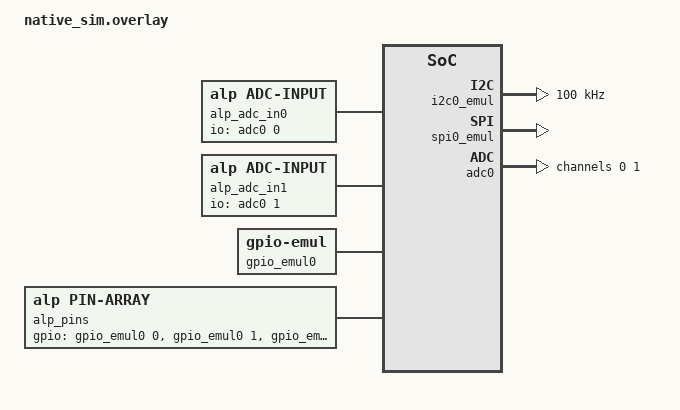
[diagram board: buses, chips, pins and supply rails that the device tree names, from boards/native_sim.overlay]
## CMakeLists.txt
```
# SPDX-License-Identifier: Apache-2.0

cmake_minimum_required(VERSION 3.20)

find_package(Zephyr REQUIRED HINTS $ENV{ZEPHYR_BASE})
project(alp_sdk_conformance_test LANGUAGES C)

# main.c's ops-vtable guard-mutation test (issue #1641) reaches past the
# portable API into the dispatcher/backend internal ABI
# (src/backends/<class>/<class>_ops.h) to NULL one op slot on an
# otherwise-real handle and prove the dispatcher's own NULL check -- not
# any particular backend's completeness -- is what stands between a
# partial vendor port and a fault.  Those headers are internal (not
# under include/), so this test app needs its own path to them; no other
# alp-sdk consumer gets this include.  Scoped to src/backends (not all of
# src/) so this app's include path never shadows a real Zephyr header
# against a same-named future src/zephyr/<name>.h.
target_include_directories(app PRIVATE ${CMAKE_CURRENT_SOURCE_DIR}/../../../src/backends)

# Single-file suite by design: the per-class conf_class_t table plus
# the generic contract runners all live in src/main.c so the "add
# vendor N+1 = add one table row" property stays visible in one place.
#
# main.c's data-driven rows assume the REAL/emulated backend per class
# (e.g. gpio's Case B expects alp_gpio_open(99) to fail -- true for
# zephyr_drv, never true for a test double that must open ANY
# instance).  CONFIG_ALP_SDK_TESTING's priority-255 wildcard backends
# are therefore built as a SEPARATE app image (the
# alp_sdk.conformance.test_doubles scenario) that swaps main.c out for
# the per-class behavior_*.c files (src/behavior_gpio.c,
# src/behavior_uart.c, ...) instead of adding to the same binary -- the
# two suites test different, mutually-incompatible backend selections
# for the same class and must never run in one process.  main.c itself
# is untouched; only this file's source list is scenario-conditional.
# Adding class N+1's test double: add its behavior_<class>.c to the
# list below (one file per class, mirroring one testing_drv.c per
# class under src/backends/<class>/).
if(CONFIG_ALP_SDK_TESTING)
    target_sources(app PRIVATE
        src/behavior_gpio.c
        src/behavior_uart.c
        src/behavior_i2c.c
        src/behavior_spi.c
        src/behavior_adc.c
        src/behavior_can.c
        src/behavior_storage.c
        src/behavior_button_led.c
    )
    # behavior_button_led.c snapshots state inside alp_gpio_irq_disable() to prove
    # the press-callback swap masks the IRQ first (#2987 item 149).
    zephyr_ld_options(-Wl,--wrap=alp_gpio_irq_disable)
else()
    target_sources(app PRIVATE
        src/main.c
    )
    # native_sim only: needs the zephyr,adc-emul controller (adc0) and
    # its 16-bit channel@1 from boards/native_sim*.overlay.
    if(CONFIG_ADC_EMUL)
        target_sources(app PRIVATE src/behavior_adc_emul.c)
    endif()
endif()
```

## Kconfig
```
# Copyright 2026 Alp Lab AB
# SPDX-License-Identifier: Apache-2.0

mainmenu "Alp SDK portable-API conformance suite"

config TEST_ALP_CONFORMANCE_WDT_ARM
	bool "Run the watchdog positive-open (arming) conformance path"
	default y if ARCH_POSIX
	help
	  The WDT row's open(valid) case installs AND STARTS a real
	  1000 ms RESET_SOC watchdog wherever a watchdog device is
	  wired.  <alp/wdt.h> documents that many M-class watchdogs are
	  write-once-armed -- close() cannot stop them -- so on real
	  silicon the suite would reset the board mid-run.

	  Default y only on ARCH_POSIX (native_sim wires no watchdog
	  device, so nothing ever arms and CI keeps full row coverage);
	  default n on hardware so the suite is safe by default.  A
	  bench operator may opt in to verify the positive WDT path,
	  running the suite dead-last and expecting a possible reset on
	  one-shot watchdogs.

source "Kconfig.zephyr"
```

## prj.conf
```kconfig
# SPDX-License-Identifier: Apache-2.0

CONFIG_ZTEST=y
CONFIG_ALP_SDK=y

# Zephyr subsystems behind the portable classes under conformance
# test.  Each CONFIG pulls the matching alp backend wrapper into the
# build; classes without a controller on the build platform exercise
# the documented failure contract (NULL + alp_last_error) instead of
# the positive open path -- see the test matrix in src/main.c.
CONFIG_GPIO=y
CONFIG_I2C=y
CONFIG_SPI=y
CONFIG_SERIAL=y
CONFIG_ADC=y
CONFIG_PWM=y
CONFIG_COUNTER=y
CONFIG_SENSOR=y
CONFIG_I2S=y
CONFIG_CAN=y
CONFIG_RTC=y
CONFIG_WATCHDOG=y

# Required for the thread-local alp_last_error() storage.
CONFIG_THREAD_LOCAL_STORAGE=y

# peripheral_i2s.c allocates its DMA slab with k_malloc; the linker
# needs a heap pool even though the conformance build never gets past
# open() on native_sim (no I2S controller).
CONFIG_HEAP_MEM_POOL_SIZE=4096

# Emulated controllers live in boards/native_sim*.conf: their Kconfig
# deps (DT_HAS_ZEPHYR_*_EMUL_ENABLED) only exist on native_sim, and an
# unmet =y assignment is a hard Kconfig error on the real-SoM builds
# this suite also targets (see testcase.yaml platform_allow).

CONFIG_LOG=y
```

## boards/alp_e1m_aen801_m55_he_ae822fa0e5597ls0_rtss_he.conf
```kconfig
# SPDX-License-Identifier: Apache-2.0
#
# E1M-AEN801 (Alif Ensemble E8) RTSS-HE: pin the SoC capability
# profile so the conformance expectations derive from alp_has()
# (strict caps<->backend parity) instead of the permissive
# CONFIG_ALP_SOC_NONE fallback.  SoC per the board's board.yml
# (ae822fa0e5597ls0 = Ensemble E8).
CONFIG_ALP_SOC_ALIF_ENSEMBLE_E8=y
```

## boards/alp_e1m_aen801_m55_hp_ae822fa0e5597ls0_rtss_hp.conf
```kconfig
# SPDX-License-Identifier: Apache-2.0
#
# E1M-AEN801 (Alif Ensemble E8) RTSS-HP: pin the SoC capability
# profile so the conformance expectations derive from alp_has()
# (strict caps<->backend parity) instead of the permissive
# CONFIG_ALP_SOC_NONE fallback.  SoC per the board's board.yml
# (ae822fa0e5597ls0 = Ensemble E8).
CONFIG_ALP_SOC_ALIF_ENSEMBLE_E8=y
```

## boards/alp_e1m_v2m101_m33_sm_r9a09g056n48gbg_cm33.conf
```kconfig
# SPDX-License-Identifier: Apache-2.0
#
# E1M-V2M101 Cortex-M33 system manager: pin the SoC capability
# profile so the conformance expectations derive from alp_has()
# (strict caps<->backend parity) instead of the permissive
# CONFIG_ALP_SOC_NONE fallback.  Profile per
# metadata/e1m_modules/E1M-V2M101.yaml (silicon_variant
# R9A09G056N44GBG -> metadata/socs/renesas/rzv2n/n44.json).
CONFIG_ALP_SOC_RENESAS_RZV2N_N44=y

# The V2N-family PWM / ADC backends route through the on-module
# GD32G553 supervisor (compiled whenever the SoC config is set), and
# their bridge calls resolve in chips/gd32g553/gd32g553.c -- so the
# chip driver must come along.  Every E1M-X SoM carries the bridge
# (docs/portability-matrix.md pairs these two configs on all six
# SKUs); cf. tests/zephyr/peripheral/prj_v2n_supervisor.conf.
CONFIG_ALP_SDK_CHIP_GD32G553=y
```

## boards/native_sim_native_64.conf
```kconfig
# SPDX-License-Identifier: Apache-2.0
#
# native_sim-only Kconfig: the emulated controllers backing the
# must-open rows (gpio / i2c / spi; adc0 + counter0 come from the
# board DTS via the overlay aliases).  Kept out of prj.conf because
# the DT_HAS_ZEPHYR_*_EMUL_ENABLED dependencies don't exist on the
# real-SoM builds in testcase.yaml platform_allow.
CONFIG_EMUL=y
CONFIG_GPIO_EMUL=y
CONFIG_I2C_EMUL=y
CONFIG_SPI_EMUL=y

# The native_pty UART driver implements the interrupt-driven API, so
# the alp_uart_rx_ringbuf_* surface gets a real positive path here
# (attach + count + pop + detach against uart0).
CONFIG_UART_INTERRUPT_DRIVEN=y
CONFIG_ALP_SDK_UART_RX_RINGBUF=y
```

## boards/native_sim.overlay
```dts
/*
 * Copyright 2026 Alp Lab AB
 * SPDX-License-Identifier: Apache-2.0
 *
 * Devicetree overlay for the alp-sdk conformance ztest under
 * native_sim.  Wires three emulated GPIOs, one emulated I2C bus,
 * one emulated SPI bus, the existing native_sim UART (uart0), the
 * board's zephyr,adc-emul controller (adc0) and native-sim counter
 * (counter0) to the alias names alp_sdk's Zephyr backends look up --
 * so gpio / i2c / spi / uart / adc / counter all run the REAL
 * positive lifecycle path on native_sim.
 */

#include <zephyr/dt-bindings/adc/adc.h>
#include <zephyr/dt-bindings/gpio/gpio.h>

/ {
    aliases {
        alp-i2c0     = &i2c0_emul;
        alp-spi0     = &spi0_emul;
        alp-uart0    = &uart0;
        alp-adc0     = &alp_adc_in0;
        alp-adc1     = &alp_adc_in1;
        alp-counter0 = &counter0;
    };

    /* io-channels consumer the alp-adc0 alias resolves to.  The
     * "alp,adc-input" compatible is REQUIRED (not cosmetic): only a
     * bound node gets its io-channels phandle-array macros generated,
     * so ADC_DT_SPEC_GET on the alias compiles.  See the binding at
     * zephyr/dts/bindings/adc/alp,adc-input.yaml. */
    alp_adc_in0: alp-adc-in0 {
        compatible = "alp,adc-input";
        io-channels = <&adc0 0>;
    };

    /* 16-bit single-ended channel: drives the zephyr_drv sign-handling
     * regression in src/behavior_adc_emul.c (a 0xC000+ sample must not
     * be sign-extended). */
    alp_adc_in1: alp-adc-in1 {
        compatible = "alp,adc-input";
        io-channels = <&adc0 1>;
    };

    soc {
        i2c0_emul: i2c@100 {
            compatible = "zephyr,i2c-emul-controller";
            status = "okay";
            reg = <0x100 4>;
            #address-cells = <1>;
            #size-cells = <0>;
            clock-frequency = <I2C_BITRATE_STANDARD>;
        };

        spi0_emul: spi@200 {
            compatible = "zephyr,spi-emul-controller";
            status = "okay";
            reg = <0x200 4>;
            #address-cells = <1>;
            #size-cells = <0>;
        };
    };

    gpio_emul0: gpio_emul0 {
        compatible = "zephyr,gpio-emul";
        status = "okay";
        gpio-controller;
        rising-edge;
        falling-edge;
        #gpio-cells = <2>;
        ngpios = <8>;
    };

    alp_pins: alp-pins {
        compatible = "alp,pin-array";
        gpios = <&gpio_emul0 0 GPIO_ACTIVE_HIGH>,
                <&gpio_emul0 1 GPIO_ACTIVE_HIGH>,
                <&gpio_emul0 2 (GPIO_ACTIVE_HIGH | GPIO_PULL_UP)>;
    };
};

/* native_sim ships adc0 (zephyr,adc-emul, status "okay") but no
 * channel config; add the channel@0 node adc_channel_setup_dt reads
 * plus the internal reference the emulator scales against.  Values
 * transcribed from Zephyr's own adc-emul exercise at
 * $ZEPHYR_BASE/tests/drivers/adc/adc_api/boards/native_sim.overlay. */
&adc0 {
    ref-internal-mv = <3300>;
    #address-cells = <1>;
    #size-cells = <0>;

    channel@0 {
        reg = <0>;
        zephyr,gain = "ADC_GAIN_1";
        zephyr,reference = "ADC_REF_INTERNAL";
        zephyr,acquisition-time = <ADC_ACQ_TIME_DEFAULT>;
        zephyr,resolution = <12>;
    };

    channel@1 {
        reg = <1>;
        zephyr,gain = "ADC_GAIN_1";
        zephyr,reference = "ADC_REF_INTERNAL";
        zephyr,acquisition-time = <ADC_ACQ_TIME_DEFAULT>;
        zephyr,resolution = <16>;
    };
};
```

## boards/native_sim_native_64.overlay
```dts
/*
 * Copyright 2026 Alp Lab AB
 * SPDX-License-Identifier: Apache-2.0
 *
 * Devicetree overlay for the alp-sdk conformance ztest under
 * native_sim.  Wires three emulated GPIOs, one emulated I2C bus,
 * one emulated SPI bus, the existing native_sim UART (uart0), the
 * board's zephyr,adc-emul controller (adc0) and native-sim counter
 * (counter0) to the alias names alp_sdk's Zephyr backends look up --
 * so gpio / i2c / spi / uart / adc / counter all run the REAL
 * positive lifecycle path on native_sim.
 */

#include <zephyr/dt-bindings/adc/adc.h>
#include <zephyr/dt-bindings/gpio/gpio.h>
#include <zephyr/dt-bindings/i2c/i2c.h>

/ {
    aliases {
        alp-i2c0     = &i2c0_emul;
        alp-spi0     = &spi0_emul;
        alp-uart0    = &uart0;
        alp-adc0     = &alp_adc_in0;
        alp-adc1     = &alp_adc_in1;
        alp-counter0 = &counter0;
    };

    /* io-channels consumer the alp-adc0 alias resolves to.  The
     * "alp,adc-input" compatible is REQUIRED (not cosmetic): only a
     * bound node gets its io-channels phandle-array macros generated,
     * so ADC_DT_SPEC_GET on the alias compiles.  See the binding at
     * zephyr/dts/bindings/adc/alp,adc-input.yaml. */
    alp_adc_in0: alp-adc-in0 {
        compatible = "alp,adc-input";
        io-channels = <&adc0 0>;
    };

    /* 16-bit single-ended channel: drives the zephyr_drv sign-handling
     * regression in src/behavior_adc_emul.c (a 0xC000+ sample must not
     * be sign-extended). */
    alp_adc_in1: alp-adc-in1 {
        compatible = "alp,adc-input";
        io-channels = <&adc0 1>;
    };

    /* native_sim's /soc has #address-cells=2, #size-cells=1, so
     * `reg` needs three cells: <addr_hi addr_lo size>. */
    soc {
        i2c0_emul: i2c@100 {
            compatible = "zephyr,i2c-emul-controller";
            status = "okay";
            reg = <0 0x100 4>;
            #address-cells = <1>;
            #size-cells = <0>;
            clock-frequency = <I2C_BITRATE_STANDARD>;
        };

        spi0_emul: spi@200 {
            compatible = "zephyr,spi-emul-controller";
            status = "okay";
            reg = <0 0x200 4>;
            #address-cells = <1>;
            #size-cells = <0>;
        };
    };

    gpio_emul0: gpio_emul0 {
        compatible = "zephyr,gpio-emul";
        status = "okay";
        gpio-controller;
        rising-edge;
        falling-edge;
        #gpio-cells = <2>;
        ngpios = <8>;
    };

    alp_pins: alp-pins {
        compatible = "alp,pin-array";
        gpios = <&gpio_emul0 0 GPIO_ACTIVE_HIGH>,
                <&gpio_emul0 1 GPIO_ACTIVE_HIGH>,
                <&gpio_emul0 2 (GPIO_ACTIVE_HIGH | GPIO_PULL_UP)>;
    };
};

/* native_sim ships adc0 (zephyr,adc-emul, status "okay") but no
 * channel config; add the channel@0 node adc_channel_setup_dt reads
 * plus the internal reference the emulator scales against.  Values
 * transcribed from Zephyr's own adc-emul exercise at
 * $ZEPHYR_BASE/tests/drivers/adc/adc_api/boards/native_sim.overlay. */
&adc0 {
    ref-internal-mv = <3300>;
    #address-cells = <1>;
    #size-cells = <0>;

    channel@0 {
        reg = <0>;
        zephyr,gain = "ADC_GAIN_1";
        zephyr,reference = "ADC_REF_INTERNAL";
        zephyr,acquisition-time = <ADC_ACQ_TIME_DEFAULT>;
        zephyr,resolution = <12>;
    };

    channel@1 {
        reg = <1>;
        zephyr,gain = "ADC_GAIN_1";
        zephyr,reference = "ADC_REF_INTERNAL";
        zephyr,acquisition-time = <ADC_ACQ_TIME_DEFAULT>;
        zephyr,resolution = <16>;
    };
};
```

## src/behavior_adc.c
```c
/*
 * SPDX-License-Identifier: Apache-2.0
 *
 * Behavioral suite for the alp/testing ADC virtual backend (epic
 * #610).  Compiled only for the alp_sdk.conformance.test_doubles
 * twister scenario (CONFIG_ALP_SDK_TESTING=y) -- see testcase.yaml.
 * Drives the double through the PUBLIC alp/adc.h API plus the
 * alp/testing injection surface; never touches adc_ops.h /
 * testing_drv.c internals directly.
 *
 * Built alongside src/behavior_gpio.c and src/behavior_uart.c in this
 * scenario's app image (this scenario's CMakeLists swaps all
 * behavior_*.c files in for src/main.c) -- see the top of
 * behavior_gpio.c for why main.c's per-class expectations are
 * incompatible with a priority-255 "open ANY instance" test double
 * and must never share a binary with it.
 */

#include <string.h>

#include <zephyr/ztest.h>

#include <alp/adc.h>
#include <alp/backend.h>
#include <alp/peripheral.h>
#include <alp/soc_caps.h>
#include <alp/testing/adc.h>
#include <alp/testing/common.h>

/* Local copy of main.c's / the other behavior_*.c files' enum-
 * membership helper -- all are static to their own TU. */
static bool status_in_enum(alp_status_t s)
{
	return s <= ALP_OK && s >= ALP_STATUS_ENUM_FLOOR;
}

static alp_adc_t *open_channel(uint32_t channel_id)
{
	alp_adc_config_t cfg = ALP_ADC_CONFIG_DEFAULT(channel_id);
	return alp_adc_open(&cfg);
}

static void adc_behavior_before(void *fixture)
{
	ARG_UNUSED(fixture);
	alp_testing_reset_all();
}

/* After-each teardown, mirroring behavior_gpio.c's / behavior_uart.c's
 * dispatcher pool-health check: alp_testing_reset_all() wipes the
 * testing double's own state but cannot reach the DISPATCHER's
 * private static handle pool (CONFIG_ALP_SDK_ADC_HANDLE_POOL slots,
 * src/adc_dispatch.c).  A test that leaks a handle would otherwise
 * silently shrink the pool for every later test until it quietly runs
 * out, surfacing as a confusing ALP_ERR_NOMEM far from the actual
 * leak.  Round-tripping a fresh handle here fails loudly instead. */
static void adc_behavior_after(void *fixture)
{
	ARG_UNUSED(fixture);
	alp_testing_reset_all();

	alp_adc_t *h = open_channel(0);
	zassert_not_null(h,
	                 "pool-health check failed: alp_adc_open(0) returned NULL right after this "
	                 "test -- a prior test in this file leaked a handle out of the dispatcher's "
	                 "fixed-size pool");
	alp_adc_close(h);
}

ZTEST_SUITE(alp_testing_adc_behavior, NULL, NULL, adc_behavior_before, adc_behavior_after, NULL);

/* Setup-fixture-shaped assertion (mirrors the GPIO/UART doubles'): a
 * mis-selection must fail LOUDLY, not silently exercise the wrong
 * backend for every other case below. */
ZTEST(alp_testing_adc_behavior, test_backend_selection_is_the_test_double)
{
	const alp_backend_t *be = alp_backend_select("adc", ALP_SOC_REF_STR);

	zassert_not_null(be, "adc class has no registered backend at all");
	zassert_equal(be->priority,
	              255,
	              "adc backend selection picked priority %u, not the "
	              "reserved test-double priority 255 -- CONFIG_ALP_SDK_TESTING_ADC "
	              "not set, or a higher-priority backend was added",
	              (unsigned)be->priority);
	zassert_equal(strcmp(be->vendor, "alp_testing"),
	              0,
	              "adc backend selection picked vendor '%s', not 'alp_testing'",
	              be->vendor);
}

/* Queued raw sequence: reads pop in strict FIFO order. */
ZTEST(alp_testing_adc_behavior, test_queue_raw_reads_pop_in_order)
{
	const uint32_t channel_id = 10;
	const int32_t  seq[]      = { 10, 20, 30 };

	zassert_equal(
	    alp_testing_adc_queue_raw(channel_id, seq, ARRAY_SIZE(seq)), ALP_OK, "queue_raw failed");

	alp_adc_t *h = open_channel(channel_id);
	zassert_not_null(h, "adc test double must open ANY instance");

	for (size_t i = 0; i < ARRAY_SIZE(seq); ++i) {
		int32_t raw = 0;
		zassert_equal(alp_adc_read_raw(h, &raw), ALP_OK, "read_raw() failed at index %zu", i);
		zassert_equal(
		    raw, seq[i], "read_raw() returned %d, expected %d at index %zu", raw, seq[i], i);
	}

	alp_adc_close(h);
}

/* Last-value latch: once the FIFO drains, further reads keep
 * returning the LAST popped value indefinitely, like a held input. */
ZTEST(alp_testing_adc_behavior, test_last_value_latches_after_fifo_drains)
{
	const uint32_t channel_id = 11;
	const int32_t  seq[]      = { 5, 6 };

	zassert_equal(
	    alp_testing_adc_queue_raw(channel_id, seq, ARRAY_SIZE(seq)), ALP_OK, "queue_raw failed");

	alp_adc_t *h = open_channel(channel_id);
	zassert_not_null(h, "adc test double must open ANY instance");

	int32_t raw = 0;
	zassert_equal(alp_adc_read_raw(h, &raw), ALP_OK, "first read_raw() failed");
	zassert_equal(raw, seq[0], "first read_raw() did not pop the first queued value");
	zassert_equal(alp_adc_read_raw(h, &raw), ALP_OK, "second read_raw() failed");
	zassert_equal(raw, seq[1], "second read_raw() did not pop the second queued value");

	/* FIFO is now empty; every further read latches at the last
	 * popped value (6), not 0 and not an error. */
	for (int i = 0; i < 3; ++i) {
		zassert_equal(alp_adc_read_raw(h, &raw), ALP_OK, "latched read_raw() failed on iter %d", i);
		zassert_equal(
		    raw, seq[1], "read_raw() did not latch at the last popped value on iter %d", i);
	}

	alp_adc_close(h);
}

/* A channel nothing has ever queued a sample for latches at 0 --
 * documented on <alp/testing/adc.h>. */
ZTEST(alp_testing_adc_behavior, test_untouched_channel_latches_at_zero)
{
	const uint32_t channel_id = 12;

	alp_adc_t *h = open_channel(channel_id);
	zassert_not_null(h, "adc test double must open ANY instance");

	int32_t raw = 1; /* poison, must be overwritten */
	zassert_equal(alp_adc_read_raw(h, &raw), ALP_OK, "read_raw() failed");
	zassert_equal(raw, 0, "an untouched channel must latch at 0, got %d", raw);

	alp_adc_close(h);
}

/* Boundary values round-trip through read_raw(): 0 and the max code
 * for the default 12-bit resolution ((1 << 12) - 1 == 4095). */
ZTEST(alp_testing_adc_behavior, test_boundary_raw_values_round_trip)
{
	const uint32_t channel_id  = 13;
	const int32_t  max_for_12b = (1 << 12) - 1;
	const int32_t  seq[]       = { 0, max_for_12b };

	zassert_equal(
	    alp_testing_adc_queue_raw(channel_id, seq, ARRAY_SIZE(seq)), ALP_OK, "queue_raw failed");

	alp_adc_t *h = open_channel(channel_id);
	zassert_not_null(h, "adc test double must open ANY instance");

	int32_t raw = -1;
	zassert_equal(alp_adc_read_raw(h, &raw), ALP_OK, "read_raw() failed on the 0 boundary");
	zassert_equal(raw, 0, "0 boundary did not round-trip, got %d", raw);

	zassert_equal(alp_adc_read_raw(h, &raw), ALP_OK, "read_raw() failed on the max boundary");
	zassert_equal(raw, max_for_12b, "max-for-resolution boundary did not round-trip, got %d", raw);

	alp_adc_close(h);
}

/* raw -> uV conversion correctness through the dispatcher
 * (src/adc_dispatch.c): the double's documented default open()
 * config is 3.3 V reference / 12-bit resolution
 * (<alp/testing/adc.h>), so the max code (4095) must convert to
 * EXACTLY the reference voltage and 0 must convert to EXACTLY 0 --
 * both boundaries are exact divisions, so this pins the formula
 * (raw * reference_uv / ((1 << resolution_bits) - 1)) without
 * relying on rounding behavior. */
ZTEST(alp_testing_adc_behavior, test_raw_to_uv_conversion_through_dispatcher)
{
	const uint32_t channel_id     = 14;
	const int32_t  max_for_12b    = (1 << 12) - 1;
	const int32_t  default_ref_uv = 3300000; /* documented default, <alp/testing/adc.h> */
	const int32_t  seq[]          = { 0, max_for_12b };

	zassert_equal(
	    alp_testing_adc_queue_raw(channel_id, seq, ARRAY_SIZE(seq)), ALP_OK, "queue_raw failed");

	alp_adc_t *h = open_channel(channel_id);
	zassert_not_null(h, "adc test double must open ANY instance");

	int32_t uv = -1;
	zassert_equal(alp_adc_read_uv(h, &uv), ALP_OK, "read_uv() failed on the 0 boundary");
	zassert_equal(uv, 0, "raw=0 must convert to 0 uV, got %d", uv);

	zassert_equal(alp_adc_read_uv(h, &uv), ALP_OK, "read_uv() failed on the max boundary");
	zassert_equal(uv,
	              default_ref_uv,
	              "raw=max-for-resolution must convert to exactly the reference voltage "
	              "(%d uV), got %d",
	              default_ref_uv,
	              uv);

	alp_adc_close(h);
}

/* #757: alp_adc_read_uv must reject an out-of-range backend-resolved
 * resolution_bits instead of shifting `1` by it -- resolution_bits=32
 * on a 32-bit `1u` is undefined behavior (src/adc_dispatch.c), and
 * under CONFIG_ALP_SOC_NONE (this build) the open()-time SoC-cap gate
 * is compiled out (ALP_SOC_ADC_MAX_RESOLUTION_BITS == UINT16_MAX), so
 * nothing upstream of alp_adc_read_uv catches it either -- the test
 * double happily stores whatever resolution_bits the caller passed.
 *
 * NON-DISCRIMINATING BOUNDARY CHECK, not a regression test: on the
 * x86-64 host toolchain this suite actually builds with (plain
 * twister, no UBSan), `1u << 32` lowers to a hardware SHL that masks
 * the count mod 32, so the PRE-FIX code's `(1u << 32) - 1u` also
 * evaluates to 0 and ALSO returns ALP_ERR_NOT_READY here -- by
 * coincidence, not because the old code validated anything. This case
 * is kept only to pin exactly the value #757 names; it does NOT prove
 * the fix. See test_read_uv_rejects_resolution_bits_over_31_regression
 * below for the case that actually discriminates old vs. new code
 * under this same (non-UBSan) gate. */
ZTEST(alp_testing_adc_behavior, test_read_uv_rejects_resolution_bits_32)
{
	const uint32_t channel_id = 17;
	const int32_t  raw_val    = 1;

	zassert_equal(alp_testing_adc_queue_raw(channel_id, &raw_val, 1), ALP_OK, "queue_raw failed");

	alp_adc_config_t cfg = ALP_ADC_CONFIG_DEFAULT(channel_id);
	cfg.resolution_bits  = 32u;
	alp_adc_t *h         = alp_adc_open(&cfg);
	zassert_not_null(h, "adc test double must open ANY instance regardless of resolution_bits");

	int32_t      uv = -1;
	alp_status_t s  = alp_adc_read_uv(h, &uv);
	zassert_equal(s,
	              ALP_ERR_NOT_READY,
	              "resolution_bits=32 must be rejected before the width-unsafe shift, got %d",
	              (int)s);
	zassert_true(status_in_enum(s), "status %d outside alp_status_t", (int)s);

	alp_adc_close(h);
}

/* Actual regression test for #757, provable under the plain (no
 * UBSan) twister gate CI runs: resolution_bits=40 is >31 in both the
 * pre-fix and post-fix code, but the pre-fix shift-mod-32 hardware
 * behavior gives it a DIFFERENT (non-zero) full-scale than
 * resolution_bits=32 does -- `(1u << 40) - 1u` lowers to `(1u << 8) -
 * 1u` == 255 on this host toolchain, so the pre-fix code does NOT
 * bail out: it silently computes a bogus converted voltage and
 * returns ALP_OK. The post-fix explicit `> 31` guard rejects it
 * regardless of the shift's hardware behavior. This is the case that
 * fails (wrongly returns ALP_OK) if src/adc_dispatch.c's `> 31` guard
 * is removed -- see the mutation-proof transcript in the PR/commit
 * description. */
ZTEST(alp_testing_adc_behavior, test_read_uv_rejects_resolution_bits_over_31_regression)
{
	const uint32_t channel_id = 19;
	const int32_t  raw_val    = 1;

	zassert_equal(alp_testing_adc_queue_raw(channel_id, &raw_val, 1), ALP_OK, "queue_raw failed");

	alp_adc_config_t cfg = ALP_ADC_CONFIG_DEFAULT(channel_id);
	cfg.resolution_bits  = 40u;
	alp_adc_t *h         = alp_adc_open(&cfg);
	zassert_not_null(h, "adc test double must open ANY instance regardless of resolution_bits");

	int32_t      uv = -1;
	alp_status_t s  = alp_adc_read_uv(h, &uv);
	zassert_equal(s,
	              ALP_ERR_NOT_READY,
	              "resolution_bits=40 must be rejected (>31), got %d (uv=%d)",
	              (int)s,
	              uv);
	zassert_true(status_in_enum(s), "status %d outside alp_status_t", (int)s);

	alp_adc_close(h);
}

/* The adjacent in-range boundary (31 bits) must still convert
 * correctly -- pins the guard at exactly ">31", not an
 * off-by-one that also rejects the last valid width. */
ZTEST(alp_testing_adc_behavior, test_read_uv_accepts_resolution_bits_31)
{
	const uint32_t channel_id = 18;
	const int32_t  raw_val    = 0;

	zassert_equal(alp_testing_adc_queue_raw(channel_id, &raw_val, 1), ALP_OK, "queue_raw failed");

	alp_adc_config_t cfg = ALP_ADC_CONFIG_DEFAULT(channel_id);
	cfg.resolution_bits  = 31u;
	alp_adc_t *h         = alp_adc_open(&cfg);
	zassert_not_null(h);

	int32_t      uv = -1;
	alp_status_t s  = alp_adc_read_uv(h, &uv);
	zassert_equal(s, ALP_OK, "resolution_bits=31 must be accepted, got %d", (int)s);
	zassert_equal(uv, 0, "raw=0 must convert to 0 uV regardless of resolution width");

	alp_adc_close(h);
}

/* #749: the alp_last_error() contract (<alp/peripheral.h>) says every
 * successful alp_*_open clears the thread-local slot -- alp_adc_open
 * was missing the alp_z_clear_last_error() call the sibling i2c/spi
 * dispatchers make at open() entry, so a prior failure's error code
 * kept reading back after a LATER successful open. */
ZTEST(alp_testing_adc_behavior, test_open_success_clears_stale_last_error)
{
	/* Provoke a failure first so the thread-local slot holds a
	 * non-OK value. */
	zassert_is_null(alp_adc_open(NULL));
	zassert_equal(alp_last_error(), ALP_ERR_INVAL, "setup: NULL cfg must set last-error");

	alp_adc_t *h = open_channel(19);
	zassert_not_null(h, "adc test double must open ANY instance");
	zassert_equal(alp_last_error(),
	              ALP_OK,
	              "a successful open() must clear the stale error from the earlier failed call");

	alp_adc_close(h);
}

/* fail_next(): the injected status surfaces verbatim, as a documented
 * alp_status_t (not a raw errno), and does not consume the sample it
 * pre-empted. */
ZTEST(alp_testing_adc_behavior, test_fail_next_surfaces_documented_status)
{
	const uint32_t channel_id = 15;
	const int32_t  raw_val    = 100;

	zassert_equal(alp_testing_adc_queue_raw(channel_id, &raw_val, 1), ALP_OK, "queue_raw failed");
	zassert_equal(alp_testing_adc_fail_next(channel_id, ALP_ERR_IO), ALP_OK, "fail_next failed");

	alp_adc_t *h = open_channel(channel_id);
	zassert_not_null(h, "adc test double must open ANY instance");

	int32_t      raw = 0;
	alp_status_t s   = alp_adc_read_raw(h, &raw);
	zassert_equal(s, ALP_ERR_IO, "read_raw() must surface the injected error verbatim");
	zassert_true(status_in_enum(s), "status %d outside alp_status_t", (int)s);

	/* Single-shot and non-consuming: the pre-empted sample is still
	 * there for the next read. */
	zassert_equal(alp_adc_read_raw(h, &raw), ALP_OK, "read_raw() after the fault failed");
	zassert_equal(raw, raw_val, "fail_next() must not consume the sample it pre-empted");

	alp_adc_close(h);
}

/* Reset-frees-side-state regression: queue raw samples and arm a
 * fault without draining/firing either, then reset_all() and prove
 * the channel is fully reusable -- no leftover queue, no stale fault,
 * back to the documented latch-at-0 state. */
ZTEST(alp_testing_adc_behavior, test_reset_all_frees_side_state)
{
	const uint32_t channel_id = 16;
	const int32_t  seq[]      = { 7, 8, 9 };

	zassert_equal(
	    alp_testing_adc_queue_raw(channel_id, seq, ARRAY_SIZE(seq)), ALP_OK, "queue_raw failed");
	zassert_equal(alp_testing_adc_fail_next(channel_id, ALP_ERR_IO), ALP_OK, "fail_next failed");

	alp_adc_t *h = open_channel(channel_id);
	zassert_not_null(h, "adc test double must open ANY instance");
	alp_adc_close(h);

	alp_testing_reset_all();

	/* Channel is reusable: no leftover queue, no leftover fault -- a
	 * fresh open + read returns the documented untouched-latch value. */
	h = open_channel(channel_id);
	zassert_not_null(h, "channel must be reusable after reset_all()");

	int32_t raw = -1;
	zassert_equal(alp_adc_read_raw(h, &raw),
	              ALP_OK,
	              "reset_all() must have cleared the queued fault for this channel");
	zassert_equal(
	    raw, 0, "reset_all() must have cleared the FIFO/latch for this channel, got %d", raw);

	alp_adc_close(h);
}

/* A handle left open across alp_testing_reset_all() must not alias the
 * slot's next occupant: ops fail instead of touching another instance. */
ZTEST(alp_testing_adc_behavior, test_stale_handle_after_reset_fails)
{
	alp_adc_t *stale = open_channel(3);
	zassert_not_null(stale, "adc test double must open ANY instance");

	alp_testing_reset_all();
	/* Takes over the slot the stale handle used to occupy. */
	alp_adc_t *h = open_channel(4);
	zassert_not_null(h, "re-open after reset_all() failed");

	int32_t raw = 0;
	zassert_equal(alp_adc_read_raw(stale, &raw), ALP_ERR_NOT_READY, "stale handle op must fail");

	alp_adc_close(stale);
	alp_adc_close(h);
}
```

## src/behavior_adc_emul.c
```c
/*
 * SPDX-License-Identifier: Apache-2.0
 *
 * zephyr_drv ADC sample-width handling against native_sim's real
 * zephyr,adc-emul controller (adc0).  alp-adc1 resolves to a 16-bit
 * single-ended channel (boards/native_sim*.overlay, channel@1).
 *
 * Regression for #2924: the backend used to sign-extend every sample of
 * 16 bits or less, so a single-ended 16-bit conversion above 0x7FFF
 * (e.g. 0xC000 = 49152) read back negative (-16384).  Single-ended
 * samples are unsigned and must be zero-extended.
 */

#include <zephyr/ztest.h>
#include <zephyr/drivers/adc.h>
#include <zephyr/drivers/adc/adc_emul.h>

#include <alp/adc.h>
#include <alp/peripheral.h>

#if DT_NODE_EXISTS(DT_ALIAS(alp_adc1))

ZTEST_SUITE(alp_adc_emul_sign, NULL, NULL, NULL, NULL, NULL);

ZTEST(alp_adc_emul_sign, test_16bit_single_ended_high_sample_stays_positive)
{
	const struct adc_dt_spec spec = ADC_DT_SPEC_GET(DT_ALIAS(alp_adc1));

	zassert_true(device_is_ready(spec.dev), "adc-emul controller not ready");
	zassert_false(spec.channel_cfg.differential, "channel@1 must be single-ended");

	/* adc-emul takes millivolts against ref-internal-mv = 3300:
	 * 2475 mV is 75 % of full scale, i.e. raw ~= 0xC000 (49152). */
	zassert_ok(adc_emul_const_value_set(spec.dev, spec.channel_id, 2475U));

	alp_adc_config_t cfg = ALP_ADC_CONFIG_DEFAULT(1);
	alp_adc_t       *h   = alp_adc_open(&cfg);
	zassert_not_null(h, "alp_adc_open(1) failed: %d", (int)alp_last_error());

	int32_t raw = 0;
	zassert_equal(alp_adc_read_raw(h, &raw), ALP_OK);
	/* Old int16_t path: ~49151 -> ~-16385.  Fixed path: stays ~49151. */
	zassert_true(raw > 0x7FFF && raw <= 0xFFFF, "raw %d was sign-extended", (int)raw);
	zassert_within(raw, 0xC000, 4, "raw %d, expected ~49152", (int)raw);

	alp_adc_close(h);
}

#endif /* DT_NODE_EXISTS(DT_ALIAS(alp_adc1)) */
```

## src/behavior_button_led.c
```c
/* SPDX-License-Identifier: Apache-2.0
 *
 * alp_button_led_set_press_callback() re-registration race (#2987 item 149).
 *
 * The edge ISR reads press_cb and cb_user as a pair, so the helper must mask the
 * IRQ BEFORE it rewrites either field.  A single-core test cannot interleave an
 * ISR, so this suite wraps alp_gpio_irq_disable() (link flag in CMakeLists.txt)
 * and snapshots the handle's fields at the moment the mask is requested: they
 * must still hold the previous registration.  Moving the disable below the field
 * stores turns test_irq_masked_before_fields_change red.
 */

#include <zephyr/ztest.h>

#include <alp/blocks/button_led.h>
#include <alp/peripheral.h>
#include <alp/testing/common.h>
#include <alp/testing/gpio.h>

#define BTN_PIN 20
#define LED_PIN 21

static alp_button_led_t         *g_watch;
static bool                      g_disable_seen;
static alp_button_led_press_cb_t g_cb_at_disable;
static void                     *g_user_at_disable;

alp_status_t __real_alp_gpio_irq_disable(alp_gpio_t *pin);

alp_status_t __wrap_alp_gpio_irq_disable(alp_gpio_t *pin)
{
	if (g_watch != NULL && pin == g_watch->button) {
		g_disable_seen    = true;
		g_cb_at_disable   = g_watch->press_cb;
		g_user_at_disable = g_watch->cb_user;
	}
	return __real_alp_gpio_irq_disable(pin);
}

static int   g_hits;
static void *g_last_user;

static void cb_a(void *user)
{
	g_hits++;
	g_last_user = user;
}

static void cb_b(void *user)
{
	g_hits++;
	g_last_user = user;
}

static void before(void *f)
{
	ARG_UNUSED(f);
	alp_testing_reset_all();
	g_watch        = NULL;
	g_disable_seen = false;
	g_hits         = 0;
	g_last_user    = NULL;
}

ZTEST_SUITE(alp_button_led_race, NULL, NULL, before, NULL, NULL);

static void init_bl(alp_button_led_t *bl)
{
	const alp_button_led_config_t cfg = {
		.button_pin_id     = BTN_PIN,
		.led_pin_id        = LED_PIN,
		.active_low_button = true,
	};
	zassert_equal(alp_button_led_init(bl, &cfg), ALP_OK);
}

ZTEST(alp_button_led_race, test_irq_masked_before_fields_change)
{
	alp_button_led_t bl;
	init_bl(&bl);

	zassert_equal(alp_button_led_set_press_callback(&bl, cb_a, (void *)0xA), ALP_OK);

	g_watch        = &bl;
	g_disable_seen = false;
	zassert_equal(alp_button_led_set_press_callback(&bl, cb_b, (void *)0xB), ALP_OK);

	zassert_true(g_disable_seen, "re-registration must mask the edge IRQ");
	zassert_equal(g_cb_at_disable, cb_a, "IRQ must be masked before press_cb is rewritten");
	zassert_equal(g_user_at_disable, (void *)0xA, "IRQ must be masked before cb_user is rewritten");

	alp_button_led_deinit(&bl);
}

ZTEST(alp_button_led_race, test_callback_after_swap_gets_new_user)
{
	alp_button_led_t bl;
	init_bl(&bl);

	zassert_equal(alp_button_led_set_press_callback(&bl, cb_a, (void *)0xA), ALP_OK);
	zassert_equal(alp_button_led_set_press_callback(&bl, cb_b, (void *)0xB), ALP_OK);

	zassert_equal(alp_testing_gpio_edge(BTN_PIN, ALP_GPIO_EDGE_FALLING), ALP_OK);
	zassert_equal(g_hits, 1);
	zassert_equal(g_last_user, (void *)0xB, "callback must see the new registration's user");

	alp_button_led_deinit(&bl);
}

ZTEST(alp_button_led_race, test_clear_masks_irq)
{
	alp_button_led_t bl;
	init_bl(&bl);

	zassert_equal(alp_button_led_set_press_callback(&bl, cb_a, (void *)0xA), ALP_OK);
	zassert_equal(alp_button_led_set_press_callback(&bl, NULL, NULL), ALP_OK);

	(void)alp_testing_gpio_edge(BTN_PIN, ALP_GPIO_EDGE_FALLING);
	zassert_equal(g_hits, 0, "a cleared callback must not fire");

	alp_button_led_deinit(&bl);
}
```

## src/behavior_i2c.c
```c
/*
 * SPDX-License-Identifier: Apache-2.0
 *
 * Behavioral suite for the alp/testing I2C virtual backend
 * (epic #610 §2). Compiled only for the alp_sdk.conformance.
 * test_doubles twister scenario (CONFIG_ALP_SDK_TESTING=y) -- see
 * testcase.yaml. Drives the double through the PUBLIC alp/peripheral.h
 * API plus the alp/testing injection surface; never touches
 * i2c_ops.h / testing_drv.c internals directly.
 *
 * Built alongside src/behavior_gpio.c, src/behavior_uart.c and
 * src/behavior_spi.c in this scenario's app image (this scenario's
 * CMakeLists swaps all of these in for src/main.c) -- see the top of
 * behavior_gpio.c for why main.c's per-class expectations are
 * incompatible with a priority-255 "open ANY instance" test double and
 * must never share a binary with it.
 */

#include <string.h>

#include <zephyr/ztest.h>

#include <alp/backend.h>
#include <alp/peripheral.h>
#include <alp/soc_caps.h>
#include <alp/testing/common.h>
#include <alp/testing/i2c.h>

/* Local copy of main.c's / behavior_gpio.c's enum-membership helper --
 * every behavior_*.c is static to its own TU. */
static bool status_in_enum(alp_status_t s)
{
	return s <= ALP_OK && s >= ALP_STATUS_ENUM_FLOOR;
}

static alp_i2c_t *open_bus(uint32_t bus_id)
{
	alp_i2c_config_t cfg = ALP_I2C_CONFIG_DEFAULT(bus_id);
	return alp_i2c_open(&cfg);
}

static void i2c_behavior_before(void *fixture)
{
	ARG_UNUSED(fixture);
	alp_testing_reset_all();
}

/* After-each teardown, mirroring behavior_uart.c's dispatcher
 * pool-health check: alp_testing_reset_all() wipes the testing
 * double's own state but cannot reach the DISPATCHER's private static
 * handle pool (CONFIG_ALP_SDK_MAX_I2C_HANDLES slots,
 * src/i2c_dispatch.c). A test that leaks a handle would otherwise
 * silently shrink the pool for every later test until it quietly runs
 * out, surfacing as a confusing ALP_ERR_NOMEM far from the actual
 * leak. Round-tripping a fresh handle here fails loudly instead. */
static void i2c_behavior_after(void *fixture)
{
	ARG_UNUSED(fixture);
	alp_testing_reset_all();

	alp_i2c_t *h = open_bus(0);
	zassert_not_null(h,
	                 "pool-health check failed: alp_i2c_open(0) returned NULL right after "
	                 "this test -- a prior test in this file leaked a handle out of the "
	                 "dispatcher's fixed-size pool");
	alp_i2c_close(h);
}

ZTEST_SUITE(alp_testing_i2c_behavior, NULL, NULL, i2c_behavior_before, i2c_behavior_after, NULL);

/* Setup-fixture-shaped assertion (mirrors behavior_gpio.c's / behavior_uart.c's):
 * a mis-selection must fail LOUDLY, not silently exercise the wrong
 * backend for every other case below. */
ZTEST(alp_testing_i2c_behavior, test_backend_selection_is_the_test_double)
{
	const alp_backend_t *be = alp_backend_select("i2c", ALP_SOC_REF_STR);

	zassert_not_null(be, "i2c class has no registered backend at all");
	zassert_equal(be->priority,
	              255,
	              "i2c backend selection picked priority %u, not the "
	              "reserved test-double priority 255 -- CONFIG_ALP_SDK_TESTING_I2C "
	              "not set, or a higher-priority backend was added",
	              (unsigned)be->priority);
	zassert_equal(strcmp(be->vendor, "alp_testing"),
	              0,
	              "i2c backend selection picked vendor '%s', not 'alp_testing'",
	              be->vendor);
}

/* Backend-selection assertion beyond the fixture's own check --
 * exercised again explicitly per the task's deliverable list. */
ZTEST(alp_testing_i2c_behavior, test_backend_vendor_is_alp_testing)
{
	const alp_backend_t *be = alp_backend_select("i2c", ALP_SOC_REF_STR);

	zassert_not_null(be, "i2c class has no registered backend at all");
	zassert_equal(strcmp(be->vendor, "alp_testing"), 0, "vendor must be alp_testing");
}

ZTEST(alp_testing_i2c_behavior, test_write_captures_last_write)
{
	const uint32_t bus_id = 20;
	const uint8_t  addr   = 0x50;
	const uint8_t  msg[]  = { 0x01, 0x02, 0x03 };

	alp_i2c_t *h = open_bus(bus_id);
	zassert_not_null(h, "i2c test double must open ANY instance");

	zassert_equal(alp_i2c_write(h, addr, msg, sizeof(msg)), ALP_OK, "write() failed");

	uint8_t out[8] = { 0 };
	size_t  got    = 0;
	zassert_equal(alp_testing_i2c_last_write(bus_id, addr, out, sizeof(out), &got),
	              ALP_OK,
	              "last_write failed");
	zassert_equal(got, sizeof(msg), "last_write returned %zu, expected %zu", got, sizeof(msg));
	zassert_mem_equal(out, msg, sizeof(msg), "last_write did not observe the written bytes");

	alp_i2c_close(h);
}

ZTEST(alp_testing_i2c_behavior, test_read_returns_canned_response)
{
	const uint32_t bus_id = 21;
	const uint8_t  addr   = 0x51;
	const uint8_t  rsp[]  = { 0xAA, 0xBB, 0xCC, 0xDD };

	zassert_equal(alp_testing_i2c_target_respond(bus_id, addr, rsp, sizeof(rsp)),
	              ALP_OK,
	              "target_respond failed");

	alp_i2c_t *h = open_bus(bus_id);
	zassert_not_null(h, "i2c test double must open ANY instance");

	uint8_t buf[sizeof(rsp)] = { 0 };
	zassert_equal(alp_i2c_read(h, addr, buf, sizeof(buf)), ALP_OK, "read() failed");
	zassert_mem_equal(buf, rsp, sizeof(rsp), "read() did not observe the canned response");

	/* Canned response is a persistent snapshot, not a drained queue:
	 * a second read observes the same data. */
	uint8_t buf2[sizeof(rsp)] = { 0 };
	zassert_equal(alp_i2c_read(h, addr, buf2, sizeof(buf2)), ALP_OK, "second read() failed");
	zassert_mem_equal(buf2, rsp, sizeof(rsp), "second read() must observe the same canned data");

	alp_i2c_close(h);
}

ZTEST(alp_testing_i2c_behavior, test_write_read_round_trip)
{
	const uint32_t bus_id = 22;
	const uint8_t  addr   = 0x52;
	const uint8_t  reg[]  = { 0x00 };
	const uint8_t  rsp[]  = { 0x42, 0x43 };

	zassert_equal(alp_testing_i2c_target_respond(bus_id, addr, rsp, sizeof(rsp)),
	              ALP_OK,
	              "target_respond failed");

	alp_i2c_t *h = open_bus(bus_id);
	zassert_not_null(h, "i2c test double must open ANY instance");

	uint8_t rdata[sizeof(rsp)] = { 0 };
	zassert_equal(alp_i2c_write_read(h, addr, reg, sizeof(reg), rdata, sizeof(rdata)),
	              ALP_OK,
	              "write_read() failed");
	zassert_mem_equal(rdata, rsp, sizeof(rsp), "write_read() did not return the canned response");

	uint8_t out[8] = { 0 };
	size_t  got    = 0;
	zassert_equal(alp_testing_i2c_last_write(bus_id, addr, out, sizeof(out), &got),
	              ALP_OK,
	              "last_write failed");
	zassert_equal(got, sizeof(reg), "write_read()'s write phase must be captured too");
	zassert_mem_equal(
	    out, reg, sizeof(reg), "last_write did not observe write_read()'s write phase");

	alp_i2c_close(h);
}

/* NACK: documented status (ALP_ERR_IO), zero bytes captured. */
ZTEST(alp_testing_i2c_behavior, test_nack_returns_documented_status)
{
	const uint32_t bus_id = 23;
	const uint8_t  addr   = 0x53;
	const uint8_t  msg[]  = { 0x11, 0x22 };

	zassert_equal(alp_testing_i2c_fail_next(bus_id, addr, ALP_TESTING_FAULT_NACK, 0),
	              ALP_OK,
	              "fail_next failed");

	alp_i2c_t *h = open_bus(bus_id);
	zassert_not_null(h, "i2c test double must open ANY instance");

	alp_status_t s = alp_i2c_write(h, addr, msg, sizeof(msg));
	zassert_equal(s, ALP_ERR_IO, "write() must surface the documented NACK status (ALP_ERR_IO)");
	zassert_true(status_in_enum(s), "status %d outside alp_status_t", (int)s);

	uint8_t out[8] = { 0 };
	size_t  got    = 1; /* poison to prove last_write zeroes it */
	zassert_equal(alp_testing_i2c_last_write(bus_id, addr, out, sizeof(out), &got),
	              ALP_OK,
	              "last_write failed");
	zassert_equal(got, 0, "a NACKed write must capture zero bytes");

	/* One-shot: the fault disarms itself, so the next write succeeds. */
	zassert_equal(alp_i2c_write(h, addr, msg, sizeof(msg)),
	              ALP_OK,
	              "fail_next must be one-shot -- the following write must succeed");

	alp_i2c_close(h);
}

/* Short transfer: only `short_len` bytes actually captured, then the
 * documented bus-error status. */
ZTEST(alp_testing_i2c_behavior, test_short_transfer_partial)
{
	const uint32_t bus_id    = 24;
	const uint8_t  addr      = 0x54;
	const uint8_t  msg[]     = { 0xDE, 0xAD, 0xBE, 0xEF };
	const size_t   short_len = 2;

	zassert_equal(alp_testing_i2c_fail_next(bus_id, addr, ALP_TESTING_FAULT_SHORT, short_len),
	              ALP_OK,
	              "fail_next failed");

	alp_i2c_t *h = open_bus(bus_id);
	zassert_not_null(h, "i2c test double must open ANY instance");

	zassert_equal(alp_i2c_write(h, addr, msg, sizeof(msg)),
	              ALP_ERR_IO,
	              "short write must surface ALP_ERR_IO");

	uint8_t out[8] = { 0 };
	size_t  got    = 0;
	zassert_equal(alp_testing_i2c_last_write(bus_id, addr, out, sizeof(out), &got),
	              ALP_OK,
	              "last_write failed");
	zassert_equal(got, short_len, "a short write must capture exactly short_len bytes");
	zassert_mem_equal(out, msg, short_len, "short write captured the wrong bytes");

	alp_i2c_close(h);
}

/* Reset-frees-side-state regression: prime a canned response, capture
 * a write, arm a fault -- then reset_all() and prove the bus/address is
 * fully reusable with none of that state carried over. */
ZTEST(alp_testing_i2c_behavior, test_reset_all_frees_side_state)
{
	const uint32_t bus_id = 25;
	const uint8_t  addr   = 0x55;
	const uint8_t  rsp[]  = { 0x9A };
	const uint8_t  wr[]   = { 0x01 };

	zassert_equal(alp_testing_i2c_target_respond(bus_id, addr, rsp, sizeof(rsp)),
	              ALP_OK,
	              "target_respond failed");
	zassert_equal(alp_testing_i2c_fail_next(bus_id, addr, ALP_TESTING_FAULT_NACK, 0),
	              ALP_OK,
	              "fail_next failed");

	alp_i2c_t *h = open_bus(bus_id);
	zassert_not_null(h, "i2c test double must open ANY instance");
	/* Consume the armed NACK first so it doesn't leak into the
	 * reset_all() assertions below. */
	zassert_equal(alp_i2c_write(h, addr, wr, sizeof(wr)), ALP_ERR_IO, "expected the armed NACK");
	alp_i2c_close(h);

	alp_testing_reset_all();

	/* last_write must report "never touched" again (ALP_ERR_INVAL),
	 * not the pre-reset capture -- checked BEFORE anything re-touches
	 * (bus_id, addr), since last_write itself is a pure lookup that
	 * must not implicitly re-create the slot. */
	uint8_t out[8] = { 0 };
	size_t  got    = 0;
	zassert_equal(alp_testing_i2c_last_write(bus_id, addr, out, sizeof(out), &got),
	              ALP_ERR_INVAL,
	              "reset_all() must have cleared last_write's side-state for this address");

	h = open_bus(bus_id);
	zassert_not_null(h, "bus must be reusable after reset_all()");

	/* Canned response must be gone: a fresh read returns zeros, not
	 * the pre-reset rsp[]. */
	uint8_t buf[sizeof(rsp)] = { 0xFF };
	zassert_equal(alp_i2c_read(h, addr, buf, sizeof(buf)), ALP_OK, "read() failed");
	zassert_equal(buf[0], 0, "reset_all() must have cleared the canned response");

	alp_i2c_close(h);
}

/* #610 review (test-completeness): the I2C test double models the
 * OTHER device on the bus, not this MCU's own target (slave) mode --
 * <alp/peripheral.h>'s alp_i2c_target_open() doc and this double's own
 * header comment both say target_open/target_close are left NULL so
 * the dispatcher's own ALP_ERR_NOSUPPORT degrade path fires, but no
 * test asserted it. Pin it here. */
static void stub_on_write(uint8_t byte, void *user)
{
	ARG_UNUSED(byte);
	ARG_UNUSED(user);
}

static alp_status_t stub_on_read(uint8_t *byte, void *user)
{
	ARG_UNUSED(user);
	*byte = 0;
	return ALP_OK;
}

ZTEST(alp_testing_i2c_behavior, test_target_open_is_nosupport_on_this_double)
{
	const uint32_t bus_id = 26;

	alp_i2c_target_config_t cfg = ALP_I2C_TARGET_CONFIG_DEFAULT(bus_id);
	cfg.own_addr_7bit           = 0x50;
	cfg.on_write                = stub_on_write;
	cfg.on_read                 = stub_on_read;

	alp_i2c_target_t *tgt = alp_i2c_target_open(&cfg);
	zassert_is_null(tgt,
	                "target_open() must fail on this double -- it models the OTHER device, "
	                "not this MCU's target mode");
	zassert_equal(alp_last_error(),
	              ALP_ERR_NOSUPPORT,
	              "target_open() failure must surface ALP_ERR_NOSUPPORT (target_open left NULL "
	              "in this double's ops table)");
}

/* A handle left open across alp_testing_reset_all() must not alias the
 * slot's next occupant: ops fail instead of touching another instance. */
ZTEST(alp_testing_i2c_behavior, test_stale_handle_after_reset_fails)
{
	alp_i2c_t *stale = open_bus(3);
	zassert_not_null(stale, "i2c test double must open ANY instance");

	alp_testing_reset_all();
	/* Takes over the slot the stale handle used to occupy. */
	alp_i2c_t *h = open_bus(4);
	zassert_not_null(h, "re-open after reset_all() failed");

	const uint8_t msg[] = { 0x01 };
	zassert_equal(alp_i2c_write(stale, 0x50, msg, sizeof(msg)),
	              ALP_ERR_NOT_READY,
	              "stale handle op must fail");

	alp_i2c_close(stale);
	alp_i2c_close(h);
}
```
